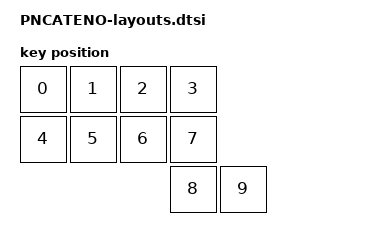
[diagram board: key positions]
#include <physical_layouts.dtsi>

/ {
    RNCATENO_layout: RNCATENO_layout_0 {
        compatible = "zmk,physical-layout";
        display-name = "Default";
        kscan = <&kscan0>;
        transform = <&default_transform>;

        keys  //                     w   h    x    y     rot    rx    ry
            = <&key_physical_attrs 100 100    0    0       0     0     0>
            , <&key_physical_attrs 100 100  100    0       0     0     0>
            , <&key_physical_attrs 100 100  200    0       0     0     0>
            , <&key_physical_attrs 100 100  300    0       0     0     0>
            , <&key_physical_attrs 100 100    0  100       0     0     0>
            , <&key_physical_attrs 100 100  100  100       0     0     0>
            , <&key_physical_attrs 100 100  200  100       0     0     0>
            , <&key_physical_attrs 100 100  300  100       0     0     0>
            , <&key_physical_attrs 100 100  300  200       0     0     0>
            , <&key_physical_attrs 100 100  400  200       0     0     0>
            
            ;
    };
};

&PNCATENO_position_map{
        origin {
                physical-layout = <&RNCATENO_layout>;
                positions
                = < 0  1  2  3 >
                , < 4  5  6  7 >
                , < 8 9 >;
        };
};
